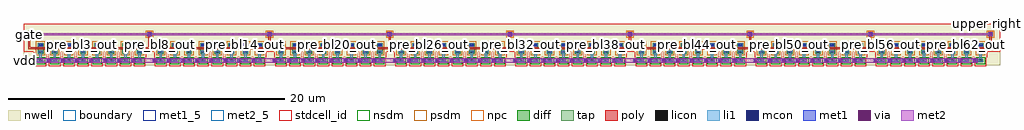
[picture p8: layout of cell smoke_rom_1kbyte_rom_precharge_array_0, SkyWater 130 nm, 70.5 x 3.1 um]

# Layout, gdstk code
from math import pi, radians
import gdstk
lib = gdstk.Library(unit=1e-6, precision=1e-09)
def R(c, l, rs):  # rectangles x0, y0, x1, y1
    for r in rs: c.add(gdstk.rectangle(r[:2], r[2:], *l))
def A(c, l, x, y, w, h, nx, ny, dx, dy):  # array of equal rectangles
    R(c, l, [(x+i*dx, y+j*dy, x+i*dx+w, y+j*dy+h) for i in range(nx) for j in range(ny)])
nwell = (64, 20)
diff = (65, 20)
tap = (65, 44)
poly = (66, 20)
licon = (66, 44)
li1 = (67, 20)
mcon = (67, 44)
met1_5 = (68, 5)
met1 = (68, 20)
via = (68, 44)
met2_5 = (69, 5)
met2 = (69, 20)
stdcell_id = (81, 4)
nsdm = (93, 44)
psdm = (94, 20)
npc = (95, 20)
boundary = (235, 4)

smoke_rom_1kbyte_contact = lib.new_cell('smoke_rom_1kbyte_contact_11')
R(smoke_rom_1kbyte_contact, poly, [(0,0,0.33,0.33)])
R(smoke_rom_1kbyte_contact, licon, [(0.08,0.08,0.25,0.25)])
R(smoke_rom_1kbyte_contact, li1, [(0.08,0,0.25,0.33)])
R(smoke_rom_1kbyte_contact, stdcell_id, [(-0.1,-0.1,0.43,0.43)])
R(smoke_rom_1kbyte_contact, npc, [(-0.1,-0.1,0.43,0.43)])
R(smoke_rom_1kbyte_contact, boundary, [(-0.1,-0.1,0.43,0.43)])

c_smoke_rom_1kbyte_contact = lib.new_cell('smoke_rom_1kbyte_contact_12')
R(c_smoke_rom_1kbyte_contact, li1, [(0.06,0,0.23,0.33)])
R(c_smoke_rom_1kbyte_contact, mcon, [(0.06,0.08,0.23,0.25)])
R(c_smoke_rom_1kbyte_contact, met1, [(0,0.05,0.29,0.28)])
R(c_smoke_rom_1kbyte_contact, stdcell_id, [(0,0,0.29,0.33)])
R(c_smoke_rom_1kbyte_contact, boundary, [(0,0,0.29,0.33)])

c_smoke_rom_1kbyte_contact_ = lib.new_cell('smoke_rom_1kbyte_contact_13')
R(c_smoke_rom_1kbyte_contact_, met1, [(0,0.03,0.32,0.29)])
R(c_smoke_rom_1kbyte_contact_, via, [(0.085,0.085,0.235,0.235)])
R(c_smoke_rom_1kbyte_contact_, met2, [(0.03,0,0.29,0.32)])
R(c_smoke_rom_1kbyte_contact_, stdcell_id, [(0,0,0.32,0.32)])
R(c_smoke_rom_1kbyte_contact_, boundary, [(0,0,0.32,0.32)])

smoke_rom_1kbyte_rom_pol = lib.new_cell('smoke_rom_1kbyte_rom_poly_tap_3')
R(smoke_rom_1kbyte_rom_pol, met1, [(0.005,0.12,0.325,0.38)])
R(smoke_rom_1kbyte_rom_pol, met2_5, [(0.095,0.18,0.235,0.32)])
R(smoke_rom_1kbyte_rom_pol, met2, [(0.095,0.18,0.235,0.32)])
R(smoke_rom_1kbyte_rom_pol, stdcell_id, [(0,0,0.85,1.02)])
R(smoke_rom_1kbyte_rom_pol, boundary, [(0,0,0.85,1.02)])
smoke_rom_1kbyte_rom_pol.add(gdstk.Reference(smoke_rom_1kbyte_contact, (0,0.085)))
smoke_rom_1kbyte_rom_pol.add(gdstk.Reference(c_smoke_rom_1kbyte_contact, (0.02,0.085)))
smoke_rom_1kbyte_rom_pol.add(gdstk.Reference(c_smoke_rom_1kbyte_contact_, (0.005,0.09)))
smoke_rom_1kbyte_rom_pol.add(gdstk.Label('poly_tap', (0.165,0.25), layer=69, texttype=5))

c_smoke_rom_1kbyte_contact__ = lib.new_cell('smoke_rom_1kbyte_contact_10')
R(c_smoke_rom_1kbyte_contact__, nwell, [(-0.295,-0.255,0.545,0.585)])
R(c_smoke_rom_1kbyte_contact__, diff, [(0,0.02,0.25,0.31)])
R(c_smoke_rom_1kbyte_contact__, licon, [(0.04,0.08,0.21,0.25)])
R(c_smoke_rom_1kbyte_contact__, li1, [(0.04,0,0.21,0.33)])
R(c_smoke_rom_1kbyte_contact__, stdcell_id, [(-0.295,-0.255,0.545,0.585)])
R(c_smoke_rom_1kbyte_contact__, psdm, [(-0.125,-0.105,0.375,0.435)])
R(c_smoke_rom_1kbyte_contact__, boundary, [(-0.295,-0.255,0.545,0.585)])

c_smoke_rom_1kbyte_contact___ = lib.new_cell('smoke_rom_1kbyte_contact_14')
R(c_smoke_rom_1kbyte_contact___, nwell, [(-0.305,-0.255,0.535,0.585)])
R(c_smoke_rom_1kbyte_contact___, li1, [(0.03,0,0.2,0.33)])
R(c_smoke_rom_1kbyte_contact___, mcon, [(0.03,0.08,0.2,0.25)])
R(c_smoke_rom_1kbyte_contact___, met1, [(0,0.02,0.23,0.31)])
R(c_smoke_rom_1kbyte_contact___, stdcell_id, [(-0.305,-0.255,0.535,0.585)])
R(c_smoke_rom_1kbyte_contact___, psdm, [(-0.095,-0.125,0.325,0.455)])
R(c_smoke_rom_1kbyte_contact___, boundary, [(-0.305,-0.255,0.535,0.585)])

smoke_rom_1kbyte_pmos_m1 = lib.new_cell('smoke_rom_1kbyte_pmos_m1_w0_420_sli_dm1')
R(smoke_rom_1kbyte_pmos_m1, nwell, [(-0.27,-0.27,1.02,0.69)])
R(smoke_rom_1kbyte_pmos_m1, diff, [(0,0,0.75,0.42)])
R(smoke_rom_1kbyte_pmos_m1, poly, [(0.3,-0.13,0.45,0.55), (0.3,-0.13,0.45,0.55)])
R(smoke_rom_1kbyte_pmos_m1, li1, [(0.04,0.045,0.21,0.375)])
R(smoke_rom_1kbyte_pmos_m1, met1_5, [(0.51,0.065,0.74,0.355)])
R(smoke_rom_1kbyte_pmos_m1, met1, [(0.51,0.065,0.74,0.355)])
R(smoke_rom_1kbyte_pmos_m1, stdcell_id, [(-0.27,-0.27,1.02,0.69)])
R(smoke_rom_1kbyte_pmos_m1, psdm, [(-0.125,-0.125,0.875,0.545)])
R(smoke_rom_1kbyte_pmos_m1, boundary, [(-0.27,-0.27,1.02,0.69)])
smoke_rom_1kbyte_pmos_m1.add(gdstk.Reference(c_smoke_rom_1kbyte_contact__, (0,0.045)))
smoke_rom_1kbyte_pmos_m1.add(gdstk.Reference(c_smoke_rom_1kbyte_contact__, (0.5,0.045)))
smoke_rom_1kbyte_pmos_m1.add(gdstk.Reference(c_smoke_rom_1kbyte_contact___, (0.51,0.045)))
smoke_rom_1kbyte_pmos_m1.add(gdstk.Label('G', (0.375,0.21), layer=66, texttype=5))
smoke_rom_1kbyte_pmos_m1.add(gdstk.Label('S', (0.125,0.21), layer=67, texttype=5))
smoke_rom_1kbyte_pmos_m1.add(gdstk.Label('D', (0.625,0.21), layer=68, texttype=5))

c_smoke_rom_1kbyte_contact____ = lib.new_cell('smoke_rom_1kbyte_contact_15')
R(c_smoke_rom_1kbyte_contact____, nwell, [(-0.215,-0.295,0.625,0.545)])
R(c_smoke_rom_1kbyte_contact____, tap, [(0,0,0.41,0.25)])
R(c_smoke_rom_1kbyte_contact____, licon, [(0.12,0.04,0.29,0.21)])
R(c_smoke_rom_1kbyte_contact____, li1, [(0.04,0.04,0.37,0.21)])
R(c_smoke_rom_1kbyte_contact____, stdcell_id, [(-0.215,-0.295,0.625,0.545)])
R(c_smoke_rom_1kbyte_contact____, nsdm, [(-0.125,-0.125,0.535,0.375)])
R(c_smoke_rom_1kbyte_contact____, boundary, [(-0.215,-0.295,0.625,0.545)])

smoke_rom_1kbyte_prechar = lib.new_cell('smoke_rom_1kbyte_precharge_cell')
R(smoke_rom_1kbyte_prechar, nwell, [(0,-0.945,1.02,0.68)])
R(smoke_rom_1kbyte_prechar, poly, [(0,0.175,0.34,0.325), (0.34,0.175,1.02,0.325)])
R(smoke_rom_1kbyte_prechar, li1, [(0.175,-0.725,0.345,-0.555), (0.26,-0.725,0.68,-0.555), (0.595,-0.725,0.765,-0.555), (0.595,-0.725,0.765,-0.555), (0.595,-0.64,0.765,0)])
R(smoke_rom_1kbyte_prechar, met1_5, [(0.535,0.385,0.825,0.615)])
R(smoke_rom_1kbyte_prechar, met1, [(0.535,0.385,0.825,0.615)])
R(smoke_rom_1kbyte_prechar, stdcell_id, [(0,0,1.02,1.02)])
R(smoke_rom_1kbyte_prechar, boundary, [(0,0,1.02,1.02)])
smoke_rom_1kbyte_prechar.add(gdstk.Reference(smoke_rom_1kbyte_pmos_m1, (0.89,-0.125), rotation=pi/2))
smoke_rom_1kbyte_prechar.add(gdstk.Reference(c_smoke_rom_1kbyte_contact____, (0.475,-0.765)))
smoke_rom_1kbyte_prechar.add(gdstk.Label('D', (0.68,0.5), layer=68, texttype=5))
smoke_rom_1kbyte_prechar.add(gdstk.Label('G', (0.68,0.25), layer=66, texttype=5))
smoke_rom_1kbyte_prechar.add(gdstk.Label('vdd', (0.26,-0.64), layer=67, texttype=5))

smoke_rom_1kbyte_rom_pre = lib.new_cell('smoke_rom_1kbyte_rom_precharge_array_0')
R(smoke_rom_1kbyte_rom_pre, nwell, [(0,-0.98,70.5,2.04)])
A(smoke_rom_1kbyte_rom_pre, poly, 0.3, 0.25, 0.15, 0.95, 9, 1, 8.68, 0)
R(smoke_rom_1kbyte_rom_pre, poly, [(0.305,0.175,69.885,0.325), (69.095,0.175,69.89,0.325), (69.1,0.175,69.89,0.325)])
A(smoke_rom_1kbyte_rom_pre, met1_5, 1.13, 0.43, 0.14, 0.14, 8, 1, 1.02, 0)
A(smoke_rom_1kbyte_rom_pre, met1_5, 9.81, 0.43, 0.14, 0.14, 8, 1, 1.02, 0)
A(smoke_rom_1kbyte_rom_pre, met1_5, 18.49, 0.43, 0.14, 0.14, 8, 1, 1.02, 0)
A(smoke_rom_1kbyte_rom_pre, met1_5, 27.17, 0.43, 0.14, 0.14, 8, 1, 1.02, 0)
A(smoke_rom_1kbyte_rom_pre, met1_5, 35.85, 0.43, 0.14, 0.14, 8, 1, 1.02, 0)
A(smoke_rom_1kbyte_rom_pre, met1_5, 44.53, 0.43, 0.14, 0.14, 8, 1, 1.02, 0)
A(smoke_rom_1kbyte_rom_pre, met1_5, 53.21, 0.43, 0.14, 0.14, 8, 1, 1.02, 0)
A(smoke_rom_1kbyte_rom_pre, met1_5, 61.89, 0.43, 0.14, 0.14, 8, 1, 1.02, 0)
A(smoke_rom_1kbyte_rom_pre, met1, 0.62, -0.77, 0.32, 0.26, 8, 1, 1.02, 0)
A(smoke_rom_1kbyte_rom_pre, met1, 9.3, -0.77, 0.32, 0.26, 8, 1, 1.02, 0)
A(smoke_rom_1kbyte_rom_pre, met1, 17.98, -0.77, 0.32, 0.26, 8, 1, 1.02, 0)
A(smoke_rom_1kbyte_rom_pre, met1, 26.66, -0.77, 0.32, 0.26, 8, 1, 1.02, 0)
A(smoke_rom_1kbyte_rom_pre, met1, 35.34, -0.77, 0.32, 0.26, 8, 1, 1.02, 0)
A(smoke_rom_1kbyte_rom_pre, met1, 44.02, -0.77, 0.32, 0.26, 8, 1, 1.02, 0)
A(smoke_rom_1kbyte_rom_pre, met1, 52.7, -0.77, 0.32, 0.26, 8, 1, 1.02, 0)
A(smoke_rom_1kbyte_rom_pre, met1, 61.38, -0.77, 0.32, 0.26, 8, 1, 1.02, 0)
A(smoke_rom_1kbyte_rom_pre, met1, 1.13, 0.43, 0.14, 0.14, 8, 1, 1.02, 0)
A(smoke_rom_1kbyte_rom_pre, met1, 9.81, 0.43, 0.14, 0.14, 8, 1, 1.02, 0)
A(smoke_rom_1kbyte_rom_pre, met1, 18.49, 0.43, 0.14, 0.14, 8, 1, 1.02, 0)
A(smoke_rom_1kbyte_rom_pre, met1, 27.17, 0.43, 0.14, 0.14, 8, 1, 1.02, 0)
A(smoke_rom_1kbyte_rom_pre, met1, 35.85, 0.43, 0.14, 0.14, 8, 1, 1.02, 0)
A(smoke_rom_1kbyte_rom_pre, met1, 44.53, 0.43, 0.14, 0.14, 8, 1, 1.02, 0)
A(smoke_rom_1kbyte_rom_pre, met1, 53.21, 0.43, 0.14, 0.14, 8, 1, 1.02, 0)
A(smoke_rom_1kbyte_rom_pre, met1, 61.89, 0.43, 0.14, 0.14, 8, 1, 1.02, 0)
R(smoke_rom_1kbyte_rom_pre, met2_5, [(0.06,-0.8,0.2,-0.48), (0.305,1.2,0.445,1.34), (69.745,1.2,69.885,1.34)])
A(smoke_rom_1kbyte_rom_pre, met2, 0.305, 1.2, 0.14, 0.14, 9, 1, 8.68, 0)
R(smoke_rom_1kbyte_rom_pre, met2, [(0.06,-0.8,0.2,-0.48), (0.13,-0.8,68.895,-0.48), (0.305,1.2,0.445,1.34), (0.305,1.2,69.885,1.34), (69.745,1.2,69.885,1.34)])
R(smoke_rom_1kbyte_rom_pre, stdcell_id, [(0,0,70.5,2.04)])
R(smoke_rom_1kbyte_rom_pre, boundary, [(0,0,70.5,2.04)])
smoke_rom_1kbyte_rom_pre.add(gdstk.Reference(smoke_rom_1kbyte_rom_pol, (0.21,1.02)))
smoke_rom_1kbyte_rom_pre.add(gdstk.Reference(smoke_rom_1kbyte_rom_pol, (8.89,1.02)))
smoke_rom_1kbyte_rom_pre.add(gdstk.Reference(smoke_rom_1kbyte_prechar, (0.52,0)))
smoke_rom_1kbyte_rom_pre.add(gdstk.Reference(smoke_rom_1kbyte_prechar, (1.54,0)))
smoke_rom_1kbyte_rom_pre.add(gdstk.Reference(smoke_rom_1kbyte_prechar, (2.56,0)))
smoke_rom_1kbyte_rom_pre.add(gdstk.Reference(smoke_rom_1kbyte_prechar, (3.58,0)))
smoke_rom_1kbyte_rom_pre.add(gdstk.Reference(smoke_rom_1kbyte_prechar, (4.6,0)))
smoke_rom_1kbyte_rom_pre.add(gdstk.Reference(smoke_rom_1kbyte_prechar, (5.62,0)))
smoke_rom_1kbyte_rom_pre.add(gdstk.Reference(smoke_rom_1kbyte_prechar, (6.64,0)))
smoke_rom_1kbyte_rom_pre.add(gdstk.Reference(smoke_rom_1kbyte_prechar, (7.66,0)))
smoke_rom_1kbyte_rom_pre.add(gdstk.Reference(smoke_rom_1kbyte_rom_pol, (17.57,1.02)))
smoke_rom_1kbyte_rom_pre.add(gdstk.Reference(smoke_rom_1kbyte_prechar, (9.2,0)))
smoke_rom_1kbyte_rom_pre.add(gdstk.Reference(smoke_rom_1kbyte_prechar, (10.22,0)))
smoke_rom_1kbyte_rom_pre.add(gdstk.Reference(smoke_rom_1kbyte_prechar, (11.24,0)))
smoke_rom_1kbyte_rom_pre.add(gdstk.Reference(smoke_rom_1kbyte_prechar, (12.26,0)))
smoke_rom_1kbyte_rom_pre.add(gdstk.Reference(smoke_rom_1kbyte_prechar, (13.28,0)))
smoke_rom_1kbyte_rom_pre.add(gdstk.Reference(smoke_rom_1kbyte_prechar, (14.3,0)))
smoke_rom_1kbyte_rom_pre.add(gdstk.Reference(smoke_rom_1kbyte_prechar, (15.32,0)))
smoke_rom_1kbyte_rom_pre.add(gdstk.Reference(smoke_rom_1kbyte_prechar, (16.34,0)))
smoke_rom_1kbyte_rom_pre.add(gdstk.Reference(smoke_rom_1kbyte_rom_pol, (26.25,1.02)))
smoke_rom_1kbyte_rom_pre.add(gdstk.Reference(smoke_rom_1kbyte_prechar, (17.88,0)))
smoke_rom_1kbyte_rom_pre.add(gdstk.Reference(smoke_rom_1kbyte_prechar, (18.9,0)))
smoke_rom_1kbyte_rom_pre.add(gdstk.Reference(smoke_rom_1kbyte_prechar, (19.92,0)))
smoke_rom_1kbyte_rom_pre.add(gdstk.Reference(smoke_rom_1kbyte_prechar, (20.94,0)))
smoke_rom_1kbyte_rom_pre.add(gdstk.Reference(smoke_rom_1kbyte_prechar, (21.96,0)))
smoke_rom_1kbyte_rom_pre.add(gdstk.Reference(smoke_rom_1kbyte_prechar, (22.98,0)))
smoke_rom_1kbyte_rom_pre.add(gdstk.Reference(smoke_rom_1kbyte_prechar, (24,0)))
smoke_rom_1kbyte_rom_pre.add(gdstk.Reference(smoke_rom_1kbyte_prechar, (25.02,0)))
smoke_rom_1kbyte_rom_pre.add(gdstk.Reference(smoke_rom_1kbyte_rom_pol, (34.93,1.02)))
smoke_rom_1kbyte_rom_pre.add(gdstk.Reference(smoke_rom_1kbyte_prechar, (26.56,0)))
smoke_rom_1kbyte_rom_pre.add(gdstk.Reference(smoke_rom_1kbyte_prechar, (27.58,0)))
smoke_rom_1kbyte_rom_pre.add(gdstk.Reference(smoke_rom_1kbyte_prechar, (28.6,0)))
smoke_rom_1kbyte_rom_pre.add(gdstk.Reference(smoke_rom_1kbyte_prechar, (29.62,0)))
smoke_rom_1kbyte_rom_pre.add(gdstk.Reference(smoke_rom_1kbyte_prechar, (30.64,0)))
smoke_rom_1kbyte_rom_pre.add(gdstk.Reference(smoke_rom_1kbyte_prechar, (31.66,0)))
smoke_rom_1kbyte_rom_pre.add(gdstk.Reference(smoke_rom_1kbyte_prechar, (32.68,0)))
smoke_rom_1kbyte_rom_pre.add(gdstk.Reference(smoke_rom_1kbyte_prechar, (33.7,0)))
smoke_rom_1kbyte_rom_pre.add(gdstk.Reference(smoke_rom_1kbyte_rom_pol, (43.61,1.02)))
smoke_rom_1kbyte_rom_pre.add(gdstk.Reference(smoke_rom_1kbyte_prechar, (35.24,0)))
smoke_rom_1kbyte_rom_pre.add(gdstk.Reference(smoke_rom_1kbyte_prechar, (36.26,0)))
smoke_rom_1kbyte_rom_pre.add(gdstk.Reference(smoke_rom_1kbyte_prechar, (37.28,0)))
smoke_rom_1kbyte_rom_pre.add(gdstk.Reference(smoke_rom_1kbyte_prechar, (38.3,0)))
smoke_rom_1kbyte_rom_pre.add(gdstk.Reference(smoke_rom_1kbyte_prechar, (39.32,0)))
smoke_rom_1kbyte_rom_pre.add(gdstk.Reference(smoke_rom_1kbyte_prechar, (40.34,0)))
smoke_rom_1kbyte_rom_pre.add(gdstk.Reference(smoke_rom_1kbyte_prechar, (41.36,0)))
smoke_rom_1kbyte_rom_pre.add(gdstk.Reference(smoke_rom_1kbyte_prechar, (42.38,0)))
smoke_rom_1kbyte_rom_pre.add(gdstk.Reference(smoke_rom_1kbyte_rom_pol, (52.29,1.02)))
smoke_rom_1kbyte_rom_pre.add(gdstk.Reference(smoke_rom_1kbyte_prechar, (43.92,0)))
smoke_rom_1kbyte_rom_pre.add(gdstk.Reference(smoke_rom_1kbyte_prechar, (44.94,0)))
smoke_rom_1kbyte_rom_pre.add(gdstk.Reference(smoke_rom_1kbyte_prechar, (45.96,0)))
smoke_rom_1kbyte_rom_pre.add(gdstk.Reference(smoke_rom_1kbyte_prechar, (46.98,0)))
smoke_rom_1kbyte_rom_pre.add(gdstk.Reference(smoke_rom_1kbyte_prechar, (48,0)))
smoke_rom_1kbyte_rom_pre.add(gdstk.Reference(smoke_rom_1kbyte_prechar, (49.02,0)))
smoke_rom_1kbyte_rom_pre.add(gdstk.Reference(smoke_rom_1kbyte_prechar, (50.04,0)))
smoke_rom_1kbyte_rom_pre.add(gdstk.Reference(smoke_rom_1kbyte_prechar, (51.06,0)))
smoke_rom_1kbyte_rom_pre.add(gdstk.Reference(smoke_rom_1kbyte_rom_pol, (60.97,1.02)))
smoke_rom_1kbyte_rom_pre.add(gdstk.Reference(smoke_rom_1kbyte_prechar, (52.6,0)))
smoke_rom_1kbyte_rom_pre.add(gdstk.Reference(smoke_rom_1kbyte_prechar, (53.62,0)))
smoke_rom_1kbyte_rom_pre.add(gdstk.Reference(smoke_rom_1kbyte_prechar, (54.64,0)))
smoke_rom_1kbyte_rom_pre.add(gdstk.Reference(smoke_rom_1kbyte_prechar, (55.66,0)))
smoke_rom_1kbyte_rom_pre.add(gdstk.Reference(smoke_rom_1kbyte_prechar, (56.68,0)))
smoke_rom_1kbyte_rom_pre.add(gdstk.Reference(smoke_rom_1kbyte_prechar, (57.7,0)))
smoke_rom_1kbyte_rom_pre.add(gdstk.Reference(smoke_rom_1kbyte_prechar, (58.72,0)))
smoke_rom_1kbyte_rom_pre.add(gdstk.Reference(smoke_rom_1kbyte_prechar, (59.74,0)))
smoke_rom_1kbyte_rom_pre.add(gdstk.Reference(smoke_rom_1kbyte_rom_pol, (69.65,1.02)))
smoke_rom_1kbyte_rom_pre.add(gdstk.Reference(smoke_rom_1kbyte_prechar, (61.28,0)))
smoke_rom_1kbyte_rom_pre.add(gdstk.Reference(smoke_rom_1kbyte_prechar, (62.3,0)))
smoke_rom_1kbyte_rom_pre.add(gdstk.Reference(smoke_rom_1kbyte_prechar, (63.32,0)))
smoke_rom_1kbyte_rom_pre.add(gdstk.Reference(smoke_rom_1kbyte_prechar, (64.34,0)))
smoke_rom_1kbyte_rom_pre.add(gdstk.Reference(smoke_rom_1kbyte_prechar, (65.36,0)))
smoke_rom_1kbyte_rom_pre.add(gdstk.Reference(smoke_rom_1kbyte_prechar, (66.38,0)))
smoke_rom_1kbyte_rom_pre.add(gdstk.Reference(smoke_rom_1kbyte_prechar, (67.4,0)))
smoke_rom_1kbyte_rom_pre.add(gdstk.Reference(smoke_rom_1kbyte_prechar, (68.42,0)))
smoke_rom_1kbyte_rom_pre.add(gdstk.Reference(c_smoke_rom_1kbyte_contact, (0.635,-0.805)))
smoke_rom_1kbyte_rom_pre.add(gdstk.Reference(c_smoke_rom_1kbyte_contact_, (0.62,-0.8)))
smoke_rom_1kbyte_rom_pre.add(gdstk.Reference(c_smoke_rom_1kbyte_contact, (1.655,-0.805)))
smoke_rom_1kbyte_rom_pre.add(gdstk.Reference(c_smoke_rom_1kbyte_contact_, (1.64,-0.8)))
smoke_rom_1kbyte_rom_pre.add(gdstk.Reference(c_smoke_rom_1kbyte_contact, (2.675,-0.805)))
smoke_rom_1kbyte_rom_pre.add(gdstk.Reference(c_smoke_rom_1kbyte_contact_, (2.66,-0.8)))
smoke_rom_1kbyte_rom_pre.add(gdstk.Reference(c_smoke_rom_1kbyte_contact, (3.695,-0.805)))
smoke_rom_1kbyte_rom_pre.add(gdstk.Reference(c_smoke_rom_1kbyte_contact_, (3.68,-0.8)))
smoke_rom_1kbyte_rom_pre.add(gdstk.Reference(c_smoke_rom_1kbyte_contact, (4.715,-0.805)))
smoke_rom_1kbyte_rom_pre.add(gdstk.Reference(c_smoke_rom_1kbyte_contact_, (4.7,-0.8)))
smoke_rom_1kbyte_rom_pre.add(gdstk.Reference(c_smoke_rom_1kbyte_contact, (5.735,-0.805)))
smoke_rom_1kbyte_rom_pre.add(gdstk.Reference(c_smoke_rom_1kbyte_contact_, (5.72,-0.8)))
smoke_rom_1kbyte_rom_pre.add(gdstk.Reference(c_smoke_rom_1kbyte_contact, (6.755,-0.805)))
smoke_rom_1kbyte_rom_pre.add(gdstk.Reference(c_smoke_rom_1kbyte_contact_, (6.74,-0.8)))
smoke_rom_1kbyte_rom_pre.add(gdstk.Reference(c_smoke_rom_1kbyte_contact, (7.775,-0.805)))
smoke_rom_1kbyte_rom_pre.add(gdstk.Reference(c_smoke_rom_1kbyte_contact_, (7.76,-0.8)))
smoke_rom_1kbyte_rom_pre.add(gdstk.Reference(c_smoke_rom_1kbyte_contact, (9.315,-0.805)))
smoke_rom_1kbyte_rom_pre.add(gdstk.Reference(c_smoke_rom_1kbyte_contact_, (9.3,-0.8)))
smoke_rom_1kbyte_rom_pre.add(gdstk.Reference(c_smoke_rom_1kbyte_contact, (10.335,-0.805)))
smoke_rom_1kbyte_rom_pre.add(gdstk.Reference(c_smoke_rom_1kbyte_contact_, (10.32,-0.8)))
smoke_rom_1kbyte_rom_pre.add(gdstk.Reference(c_smoke_rom_1kbyte_contact, (11.355,-0.805)))
smoke_rom_1kbyte_rom_pre.add(gdstk.Reference(c_smoke_rom_1kbyte_contact_, (11.34,-0.8)))
smoke_rom_1kbyte_rom_pre.add(gdstk.Reference(c_smoke_rom_1kbyte_contact, (12.375,-0.805)))
smoke_rom_1kbyte_rom_pre.add(gdstk.Reference(c_smoke_rom_1kbyte_contact_, (12.36,-0.8)))
smoke_rom_1kbyte_rom_pre.add(gdstk.Reference(c_smoke_rom_1kbyte_contact, (13.395,-0.805)))
smoke_rom_1kbyte_rom_pre.add(gdstk.Reference(c_smoke_rom_1kbyte_contact_, (13.38,-0.8)))
smoke_rom_1kbyte_rom_pre.add(gdstk.Reference(c_smoke_rom_1kbyte_contact, (14.415,-0.805)))
smoke_rom_1kbyte_rom_pre.add(gdstk.Reference(c_smoke_rom_1kbyte_contact_, (14.4,-0.8)))
smoke_rom_1kbyte_rom_pre.add(gdstk.Reference(c_smoke_rom_1kbyte_contact, (15.435,-0.805)))
smoke_rom_1kbyte_rom_pre.add(gdstk.Reference(c_smoke_rom_1kbyte_contact_, (15.42,-0.8)))
smoke_rom_1kbyte_rom_pre.add(gdstk.Reference(c_smoke_rom_1kbyte_contact, (16.455,-0.805)))
smoke_rom_1kbyte_rom_pre.add(gdstk.Reference(c_smoke_rom_1kbyte_contact_, (16.44,-0.8)))
smoke_rom_1kbyte_rom_pre.add(gdstk.Reference(c_smoke_rom_1kbyte_contact, (17.995,-0.805)))
smoke_rom_1kbyte_rom_pre.add(gdstk.Reference(c_smoke_rom_1kbyte_contact_, (17.98,-0.8)))
smoke_rom_1kbyte_rom_pre.add(gdstk.Reference(c_smoke_rom_1kbyte_contact, (19.015,-0.805)))
smoke_rom_1kbyte_rom_pre.add(gdstk.Reference(c_smoke_rom_1kbyte_contact_, (19,-0.8)))
smoke_rom_1kbyte_rom_pre.add(gdstk.Reference(c_smoke_rom_1kbyte_contact, (20.035,-0.805)))
smoke_rom_1kbyte_rom_pre.add(gdstk.Reference(c_smoke_rom_1kbyte_contact_, (20.02,-0.8)))
smoke_rom_1kbyte_rom_pre.add(gdstk.Reference(c_smoke_rom_1kbyte_contact, (21.055,-0.805)))
smoke_rom_1kbyte_rom_pre.add(gdstk.Reference(c_smoke_rom_1kbyte_contact_, (21.04,-0.8)))
smoke_rom_1kbyte_rom_pre.add(gdstk.Reference(c_smoke_rom_1kbyte_contact, (22.075,-0.805)))
smoke_rom_1kbyte_rom_pre.add(gdstk.Reference(c_smoke_rom_1kbyte_contact_, (22.06,-0.8)))
smoke_rom_1kbyte_rom_pre.add(gdstk.Reference(c_smoke_rom_1kbyte_contact, (23.095,-0.805)))
smoke_rom_1kbyte_rom_pre.add(gdstk.Reference(c_smoke_rom_1kbyte_contact_, (23.08,-0.8)))
smoke_rom_1kbyte_rom_pre.add(gdstk.Reference(c_smoke_rom_1kbyte_contact, (24.115,-0.805)))
smoke_rom_1kbyte_rom_pre.add(gdstk.Reference(c_smoke_rom_1kbyte_contact_, (24.1,-0.8)))
smoke_rom_1kbyte_rom_pre.add(gdstk.Reference(c_smoke_rom_1kbyte_contact, (25.135,-0.805)))
smoke_rom_1kbyte_rom_pre.add(gdstk.Reference(c_smoke_rom_1kbyte_contact_, (25.12,-0.8)))
smoke_rom_1kbyte_rom_pre.add(gdstk.Reference(c_smoke_rom_1kbyte_contact, (26.675,-0.805)))
smoke_rom_1kbyte_rom_pre.add(gdstk.Reference(c_smoke_rom_1kbyte_contact_, (26.66,-0.8)))
smoke_rom_1kbyte_rom_pre.add(gdstk.Reference(c_smoke_rom_1kbyte_contact, (27.695,-0.805)))
smoke_rom_1kbyte_rom_pre.add(gdstk.Reference(c_smoke_rom_1kbyte_contact_, (27.68,-0.8)))
smoke_rom_1kbyte_rom_pre.add(gdstk.Reference(c_smoke_rom_1kbyte_contact, (28.715,-0.805)))
smoke_rom_1kbyte_rom_pre.add(gdstk.Reference(c_smoke_rom_1kbyte_contact_, (28.7,-0.8)))
smoke_rom_1kbyte_rom_pre.add(gdstk.Reference(c_smoke_rom_1kbyte_contact, (29.735,-0.805)))
smoke_rom_1kbyte_rom_pre.add(gdstk.Reference(c_smoke_rom_1kbyte_contact_, (29.72,-0.8)))
smoke_rom_1kbyte_rom_pre.add(gdstk.Reference(c_smoke_rom_1kbyte_contact, (30.755,-0.805)))
smoke_rom_1kbyte_rom_pre.add(gdstk.Reference(c_smoke_rom_1kbyte_contact_, (30.74,-0.8)))
smoke_rom_1kbyte_rom_pre.add(gdstk.Reference(c_smoke_rom_1kbyte_contact, (31.775,-0.805)))
smoke_rom_1kbyte_rom_pre.add(gdstk.Reference(c_smoke_rom_1kbyte_contact_, (31.76,-0.8)))
smoke_rom_1kbyte_rom_pre.add(gdstk.Reference(c_smoke_rom_1kbyte_contact, (32.795,-0.805)))
smoke_rom_1kbyte_rom_pre.add(gdstk.Reference(c_smoke_rom_1kbyte_contact_, (32.78,-0.8)))
smoke_rom_1kbyte_rom_pre.add(gdstk.Reference(c_smoke_rom_1kbyte_contact, (33.815,-0.805)))
smoke_rom_1kbyte_rom_pre.add(gdstk.Reference(c_smoke_rom_1kbyte_contact_, (33.8,-0.8)))
smoke_rom_1kbyte_rom_pre.add(gdstk.Reference(c_smoke_rom_1kbyte_contact, (35.355,-0.805)))
smoke_rom_1kbyte_rom_pre.add(gdstk.Reference(c_smoke_rom_1kbyte_contact_, (35.34,-0.8)))
smoke_rom_1kbyte_rom_pre.add(gdstk.Reference(c_smoke_rom_1kbyte_contact, (36.375,-0.805)))
smoke_rom_1kbyte_rom_pre.add(gdstk.Reference(c_smoke_rom_1kbyte_contact_, (36.36,-0.8)))
smoke_rom_1kbyte_rom_pre.add(gdstk.Reference(c_smoke_rom_1kbyte_contact, (37.395,-0.805)))
smoke_rom_1kbyte_rom_pre.add(gdstk.Reference(c_smoke_rom_1kbyte_contact_, (37.38,-0.8)))
smoke_rom_1kbyte_rom_pre.add(gdstk.Reference(c_smoke_rom_1kbyte_contact, (38.415,-0.805)))
smoke_rom_1kbyte_rom_pre.add(gdstk.Reference(c_smoke_rom_1kbyte_contact_, (38.4,-0.8)))
smoke_rom_1kbyte_rom_pre.add(gdstk.Reference(c_smoke_rom_1kbyte_contact, (39.435,-0.805)))
smoke_rom_1kbyte_rom_pre.add(gdstk.Reference(c_smoke_rom_1kbyte_contact_, (39.42,-0.8)))
smoke_rom_1kbyte_rom_pre.add(gdstk.Reference(c_smoke_rom_1kbyte_contact, (40.455,-0.805)))
smoke_rom_1kbyte_rom_pre.add(gdstk.Reference(c_smoke_rom_1kbyte_contact_, (40.44,-0.8)))
smoke_rom_1kbyte_rom_pre.add(gdstk.Reference(c_smoke_rom_1kbyte_contact, (41.475,-0.805)))
smoke_rom_1kbyte_rom_pre.add(gdstk.Reference(c_smoke_rom_1kbyte_contact_, (41.46,-0.8)))
smoke_rom_1kbyte_rom_pre.add(gdstk.Reference(c_smoke_rom_1kbyte_contact, (42.495,-0.805)))
smoke_rom_1kbyte_rom_pre.add(gdstk.Reference(c_smoke_rom_1kbyte_contact_, (42.48,-0.8)))
smoke_rom_1kbyte_rom_pre.add(gdstk.Reference(c_smoke_rom_1kbyte_contact, (44.035,-0.805)))
smoke_rom_1kbyte_rom_pre.add(gdstk.Reference(c_smoke_rom_1kbyte_contact_, (44.02,-0.8)))
smoke_rom_1kbyte_rom_pre.add(gdstk.Reference(c_smoke_rom_1kbyte_contact, (45.055,-0.805)))
smoke_rom_1kbyte_rom_pre.add(gdstk.Reference(c_smoke_rom_1kbyte_contact_, (45.04,-0.8)))
smoke_rom_1kbyte_rom_pre.add(gdstk.Reference(c_smoke_rom_1kbyte_contact, (46.075,-0.805)))
smoke_rom_1kbyte_rom_pre.add(gdstk.Reference(c_smoke_rom_1kbyte_contact_, (46.06,-0.8)))
smoke_rom_1kbyte_rom_pre.add(gdstk.Reference(c_smoke_rom_1kbyte_contact, (47.095,-0.805)))
smoke_rom_1kbyte_rom_pre.add(gdstk.Reference(c_smoke_rom_1kbyte_contact_, (47.08,-0.8)))
smoke_rom_1kbyte_rom_pre.add(gdstk.Reference(c_smoke_rom_1kbyte_contact, (48.115,-0.805)))
smoke_rom_1kbyte_rom_pre.add(gdstk.Reference(c_smoke_rom_1kbyte_contact_, (48.1,-0.8)))
smoke_rom_1kbyte_rom_pre.add(gdstk.Reference(c_smoke_rom_1kbyte_contact, (49.135,-0.805)))
smoke_rom_1kbyte_rom_pre.add(gdstk.Reference(c_smoke_rom_1kbyte_contact_, (49.12,-0.8)))
smoke_rom_1kbyte_rom_pre.add(gdstk.Reference(c_smoke_rom_1kbyte_contact, (50.155,-0.805)))
smoke_rom_1kbyte_rom_pre.add(gdstk.Reference(c_smoke_rom_1kbyte_contact_, (50.14,-0.8)))
smoke_rom_1kbyte_rom_pre.add(gdstk.Reference(c_smoke_rom_1kbyte_contact, (51.175,-0.805)))
smoke_rom_1kbyte_rom_pre.add(gdstk.Reference(c_smoke_rom_1kbyte_contact_, (51.16,-0.8)))
smoke_rom_1kbyte_rom_pre.add(gdstk.Reference(c_smoke_rom_1kbyte_contact, (52.715,-0.805)))
smoke_rom_1kbyte_rom_pre.add(gdstk.Reference(c_smoke_rom_1kbyte_contact_, (52.7,-0.8)))
smoke_rom_1kbyte_rom_pre.add(gdstk.Reference(c_smoke_rom_1kbyte_contact, (53.735,-0.805)))
smoke_rom_1kbyte_rom_pre.add(gdstk.Reference(c_smoke_rom_1kbyte_contact_, (53.72,-0.8)))
smoke_rom_1kbyte_rom_pre.add(gdstk.Reference(c_smoke_rom_1kbyte_contact, (54.755,-0.805)))
smoke_rom_1kbyte_rom_pre.add(gdstk.Reference(c_smoke_rom_1kbyte_contact_, (54.74,-0.8)))
smoke_rom_1kbyte_rom_pre.add(gdstk.Reference(c_smoke_rom_1kbyte_contact, (55.775,-0.805)))
smoke_rom_1kbyte_rom_pre.add(gdstk.Reference(c_smoke_rom_1kbyte_contact_, (55.76,-0.8)))
smoke_rom_1kbyte_rom_pre.add(gdstk.Reference(c_smoke_rom_1kbyte_contact, (56.795,-0.805)))
smoke_rom_1kbyte_rom_pre.add(gdstk.Reference(c_smoke_rom_1kbyte_contact_, (56.78,-0.8)))
smoke_rom_1kbyte_rom_pre.add(gdstk.Reference(c_smoke_rom_1kbyte_contact, (57.815,-0.805)))
smoke_rom_1kbyte_rom_pre.add(gdstk.Reference(c_smoke_rom_1kbyte_contact_, (57.8,-0.8)))
smoke_rom_1kbyte_rom_pre.add(gdstk.Reference(c_smoke_rom_1kbyte_contact, (58.835,-0.805)))
smoke_rom_1kbyte_rom_pre.add(gdstk.Reference(c_smoke_rom_1kbyte_contact_, (58.82,-0.8)))
smoke_rom_1kbyte_rom_pre.add(gdstk.Reference(c_smoke_rom_1kbyte_contact, (59.855,-0.805)))
smoke_rom_1kbyte_rom_pre.add(gdstk.Reference(c_smoke_rom_1kbyte_contact_, (59.84,-0.8)))
smoke_rom_1kbyte_rom_pre.add(gdstk.Reference(c_smoke_rom_1kbyte_contact, (61.395,-0.805)))
smoke_rom_1kbyte_rom_pre.add(gdstk.Reference(c_smoke_rom_1kbyte_contact_, (61.38,-0.8)))
smoke_rom_1kbyte_rom_pre.add(gdstk.Reference(c_smoke_rom_1kbyte_contact, (62.415,-0.805)))
smoke_rom_1kbyte_rom_pre.add(gdstk.Reference(c_smoke_rom_1kbyte_contact_, (62.4,-0.8)))
smoke_rom_1kbyte_rom_pre.add(gdstk.Reference(c_smoke_rom_1kbyte_contact, (63.435,-0.805)))
smoke_rom_1kbyte_rom_pre.add(gdstk.Reference(c_smoke_rom_1kbyte_contact_, (63.42,-0.8)))
smoke_rom_1kbyte_rom_pre.add(gdstk.Reference(c_smoke_rom_1kbyte_contact, (64.455,-0.805)))
smoke_rom_1kbyte_rom_pre.add(gdstk.Reference(c_smoke_rom_1kbyte_contact_, (64.44,-0.8)))
smoke_rom_1kbyte_rom_pre.add(gdstk.Reference(c_smoke_rom_1kbyte_contact, (65.475,-0.805)))
smoke_rom_1kbyte_rom_pre.add(gdstk.Reference(c_smoke_rom_1kbyte_contact_, (65.46,-0.8)))
smoke_rom_1kbyte_rom_pre.add(gdstk.Reference(c_smoke_rom_1kbyte_contact, (66.495,-0.805)))
smoke_rom_1kbyte_rom_pre.add(gdstk.Reference(c_smoke_rom_1kbyte_contact_, (66.48,-0.8)))
smoke_rom_1kbyte_rom_pre.add(gdstk.Reference(c_smoke_rom_1kbyte_contact, (67.515,-0.805)))
smoke_rom_1kbyte_rom_pre.add(gdstk.Reference(c_smoke_rom_1kbyte_contact_, (67.5,-0.8)))
smoke_rom_1kbyte_rom_pre.add(gdstk.Reference(c_smoke_rom_1kbyte_contact, (68.535,-0.805)))
smoke_rom_1kbyte_rom_pre.add(gdstk.Reference(c_smoke_rom_1kbyte_contact_, (68.52,-0.8)))
smoke_rom_1kbyte_rom_pre.add(gdstk.Label('upper right', (70.5,2.04), layer=64, texttype=20))
smoke_rom_1kbyte_rom_pre.add(gdstk.Label('gate', (0.375,1.27), layer=69, texttype=5))
smoke_rom_1kbyte_rom_pre.add(gdstk.Label('precharge_r', (69.815,1.27), layer=69, texttype=5))
smoke_rom_1kbyte_rom_pre.add(gdstk.Label('pre_bl0_out', (1.2,0.5), layer=68, texttype=5))
smoke_rom_1kbyte_rom_pre.add(gdstk.Label('pre_bl1_out', (2.22,0.5), layer=68, texttype=5))
smoke_rom_1kbyte_rom_pre.add(gdstk.Label('pre_bl2_out', (3.24,0.5), layer=68, texttype=5))
smoke_rom_1kbyte_rom_pre.add(gdstk.Label('pre_bl3_out', (4.26,0.5), layer=68, texttype=5))
smoke_rom_1kbyte_rom_pre.add(gdstk.Label('pre_bl4_out', (5.28,0.5), layer=68, texttype=5))
smoke_rom_1kbyte_rom_pre.add(gdstk.Label('pre_bl5_out', (6.3,0.5), layer=68, texttype=5))
smoke_rom_1kbyte_rom_pre.add(gdstk.Label('pre_bl6_out', (7.32,0.5), layer=68, texttype=5))
smoke_rom_1kbyte_rom_pre.add(gdstk.Label('pre_bl7_out', (8.34,0.5), layer=68, texttype=5))
smoke_rom_1kbyte_rom_pre.add(gdstk.Label('pre_bl8_out', (9.88,0.5), layer=68, texttype=5))
smoke_rom_1kbyte_rom_pre.add(gdstk.Label('pre_bl9_out', (10.9,0.5), layer=68, texttype=5))
smoke_rom_1kbyte_rom_pre.add(gdstk.Label('pre_bl10_out', (11.92,0.5), layer=68, texttype=5))
smoke_rom_1kbyte_rom_pre.add(gdstk.Label('pre_bl11_out', (12.94,0.5), layer=68, texttype=5))
smoke_rom_1kbyte_rom_pre.add(gdstk.Label('pre_bl12_out', (13.96,0.5), layer=68, texttype=5))
smoke_rom_1kbyte_rom_pre.add(gdstk.Label('pre_bl13_out', (14.98,0.5), layer=68, texttype=5))
smoke_rom_1kbyte_rom_pre.add(gdstk.Label('pre_bl14_out', (16,0.5), layer=68, texttype=5))
smoke_rom_1kbyte_rom_pre.add(gdstk.Label('pre_bl15_out', (17.02,0.5), layer=68, texttype=5))
smoke_rom_1kbyte_rom_pre.add(gdstk.Label('pre_bl16_out', (18.56,0.5), layer=68, texttype=5))
smoke_rom_1kbyte_rom_pre.add(gdstk.Label('pre_bl17_out', (19.58,0.5), layer=68, texttype=5))
smoke_rom_1kbyte_rom_pre.add(gdstk.Label('pre_bl18_out', (20.6,0.5), layer=68, texttype=5))
smoke_rom_1kbyte_rom_pre.add(gdstk.Label('pre_bl19_out', (21.62,0.5), layer=68, texttype=5))
smoke_rom_1kbyte_rom_pre.add(gdstk.Label('pre_bl20_out', (22.64,0.5), layer=68, texttype=5))
smoke_rom_1kbyte_rom_pre.add(gdstk.Label('pre_bl21_out', (23.66,0.5), layer=68, texttype=5))
smoke_rom_1kbyte_rom_pre.add(gdstk.Label('pre_bl22_out', (24.68,0.5), layer=68, texttype=5))
smoke_rom_1kbyte_rom_pre.add(gdstk.Label('pre_bl23_out', (25.7,0.5), layer=68, texttype=5))
smoke_rom_1kbyte_rom_pre.add(gdstk.Label('pre_bl24_out', (27.24,0.5), layer=68, texttype=5))
smoke_rom_1kbyte_rom_pre.add(gdstk.Label('pre_bl25_out', (28.26,0.5), layer=68, texttype=5))
smoke_rom_1kbyte_rom_pre.add(gdstk.Label('pre_bl26_out', (29.28,0.5), layer=68, texttype=5))
smoke_rom_1kbyte_rom_pre.add(gdstk.Label('pre_bl27_out', (30.3,0.5), layer=68, texttype=5))
smoke_rom_1kbyte_rom_pre.add(gdstk.Label('pre_bl28_out', (31.32,0.5), layer=68, texttype=5))
smoke_rom_1kbyte_rom_pre.add(gdstk.Label('pre_bl29_out', (32.34,0.5), layer=68, texttype=5))
smoke_rom_1kbyte_rom_pre.add(gdstk.Label('pre_bl30_out', (33.36,0.5), layer=68, texttype=5))
smoke_rom_1kbyte_rom_pre.add(gdstk.Label('pre_bl31_out', (34.38,0.5), layer=68, texttype=5))
smoke_rom_1kbyte_rom_pre.add(gdstk.Label('pre_bl32_out', (35.92,0.5), layer=68, texttype=5))
smoke_rom_1kbyte_rom_pre.add(gdstk.Label('pre_bl33_out', (36.94,0.5), layer=68, texttype=5))
smoke_rom_1kbyte_rom_pre.add(gdstk.Label('pre_bl34_out', (37.96,0.5), layer=68, texttype=5))
smoke_rom_1kbyte_rom_pre.add(gdstk.Label('pre_bl35_out', (38.98,0.5), layer=68, texttype=5))
smoke_rom_1kbyte_rom_pre.add(gdstk.Label('pre_bl36_out', (40,0.5), layer=68, texttype=5))
smoke_rom_1kbyte_rom_pre.add(gdstk.Label('pre_bl37_out', (41.02,0.5), layer=68, texttype=5))
smoke_rom_1kbyte_rom_pre.add(gdstk.Label('pre_bl38_out', (42.04,0.5), layer=68, texttype=5))
smoke_rom_1kbyte_rom_pre.add(gdstk.Label('pre_bl39_out', (43.06,0.5), layer=68, texttype=5))
smoke_rom_1kbyte_rom_pre.add(gdstk.Label('pre_bl40_out', (44.6,0.5), layer=68, texttype=5))
smoke_rom_1kbyte_rom_pre.add(gdstk.Label('pre_bl41_out', (45.62,0.5), layer=68, texttype=5))
smoke_rom_1kbyte_rom_pre.add(gdstk.Label('pre_bl42_out', (46.64,0.5), layer=68, texttype=5))
smoke_rom_1kbyte_rom_pre.add(gdstk.Label('pre_bl43_out', (47.66,0.5), layer=68, texttype=5))
smoke_rom_1kbyte_rom_pre.add(gdstk.Label('pre_bl44_out', (48.68,0.5), layer=68, texttype=5))
smoke_rom_1kbyte_rom_pre.add(gdstk.Label('pre_bl45_out', (49.7,0.5), layer=68, texttype=5))
smoke_rom_1kbyte_rom_pre.add(gdstk.Label('pre_bl46_out', (50.72,0.5), layer=68, texttype=5))
smoke_rom_1kbyte_rom_pre.add(gdstk.Label('pre_bl47_out', (51.74,0.5), layer=68, texttype=5))
smoke_rom_1kbyte_rom_pre.add(gdstk.Label('pre_bl48_out', (53.28,0.5), layer=68, texttype=5))
smoke_rom_1kbyte_rom_pre.add(gdstk.Label('pre_bl49_out', (54.3,0.5), layer=68, texttype=5))
smoke_rom_1kbyte_rom_pre.add(gdstk.Label('pre_bl50_out', (55.32,0.5), layer=68, texttype=5))
smoke_rom_1kbyte_rom_pre.add(gdstk.Label('pre_bl51_out', (56.34,0.5), layer=68, texttype=5))
smoke_rom_1kbyte_rom_pre.add(gdstk.Label('pre_bl52_out', (57.36,0.5), layer=68, texttype=5))
smoke_rom_1kbyte_rom_pre.add(gdstk.Label('pre_bl53_out', (58.38,0.5), layer=68, texttype=5))
smoke_rom_1kbyte_rom_pre.add(gdstk.Label('pre_bl54_out', (59.4,0.5), layer=68, texttype=5))
smoke_rom_1kbyte_rom_pre.add(gdstk.Label('pre_bl55_out', (60.42,0.5), layer=68, texttype=5))
smoke_rom_1kbyte_rom_pre.add(gdstk.Label('pre_bl56_out', (61.96,0.5), layer=68, texttype=5))
smoke_rom_1kbyte_rom_pre.add(gdstk.Label('pre_bl57_out', (62.98,0.5), layer=68, texttype=5))
smoke_rom_1kbyte_rom_pre.add(gdstk.Label('pre_bl58_out', (64,0.5), layer=68, texttype=5))
smoke_rom_1kbyte_rom_pre.add(gdstk.Label('pre_bl59_out', (65.02,0.5), layer=68, texttype=5))
smoke_rom_1kbyte_rom_pre.add(gdstk.Label('pre_bl60_out', (66.04,0.5), layer=68, texttype=5))
smoke_rom_1kbyte_rom_pre.add(gdstk.Label('pre_bl61_out', (67.06,0.5), layer=68, texttype=5))
smoke_rom_1kbyte_rom_pre.add(gdstk.Label('pre_bl62_out', (68.08,0.5), layer=68, texttype=5))
smoke_rom_1kbyte_rom_pre.add(gdstk.Label('pre_bl63_out', (69.1,0.5), layer=68, texttype=5))
smoke_rom_1kbyte_rom_pre.add(gdstk.Label('vdd', (0.13,-0.64), layer=69, texttype=5))

lib.write_gds('smoke_rom_1kbyte_rom_precharge_array_0.gds')
